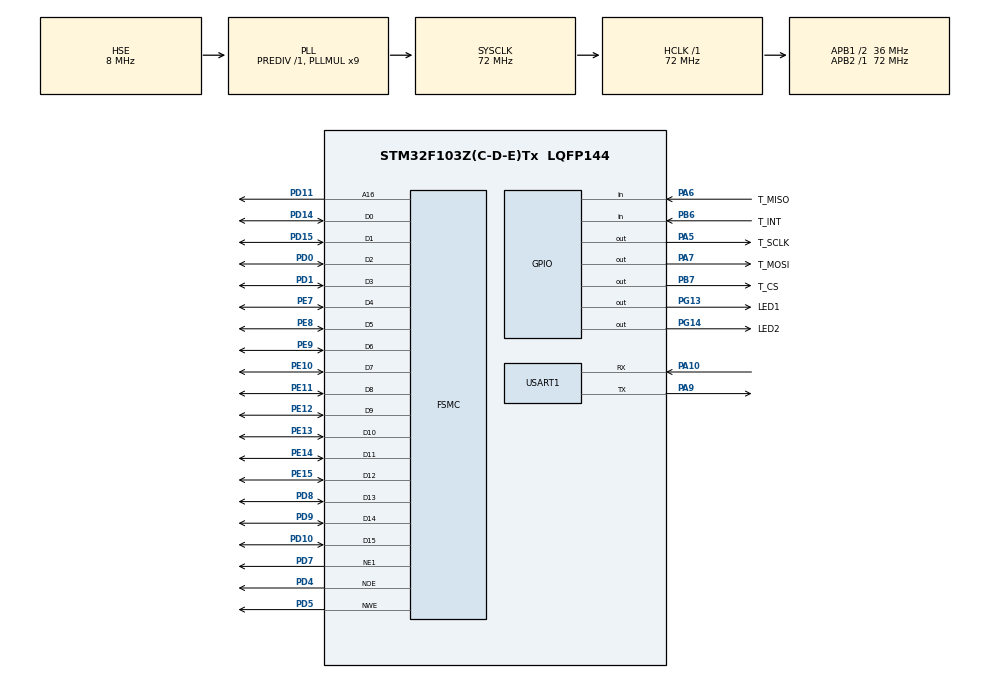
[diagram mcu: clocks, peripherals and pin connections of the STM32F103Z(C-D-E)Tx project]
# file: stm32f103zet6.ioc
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FSMC.BusTurnAroundDuration1=0
FSMC.DataSetupTime1=60
FSMC.ExtendedAddressSetupTime1=9
FSMC.ExtendedBusTurnAroundDuration1=0
FSMC.ExtendedDataSetupTime1=8
FSMC.ExtendedMode1=FSMC_EXTENDED_MODE_ENABLE
Mcu.Family=STM32F1
Mcu.Name=STM32F103Z(C-D-E)Tx
Mcu.Package=LQFP144
NVIC.PriorityGroup=NVIC_PRIORITYGROUP_4
OSC_IN.Mode=HSE-External-Oscillator
OSC_IN.Signal=RCC_OSC_IN
OSC_OUT.Mode=HSE-External-Oscillator
OSC_OUT.Signal=RCC_OSC_OUT
PA10.Mode=Asynchronous
PA10.Signal=USART1_RX
PA13.Mode=Serial_Wire
PA13.Signal=SYS_JTMS-SWDIO
PA14.Mode=Serial_Wire
PA14.Signal=SYS_JTCK-SWCLK
PA5.GPIO_Label=T_SCLK
PA5.GPIO_ModeDefaultOutputPP=GPIO_MODE_OUTPUT_PP
PA5.GPIO_PuPd=GPIO_PULLUP
PA5.GPIO_Speed=GPIO_SPEED_FREQ_HIGH
PA5.PinState=GPIO_PIN_SET
PA5.Signal=GPIO_Output
PA6.GPIO_Label=T_MISO
PA6.GPIO_PuPd=GPIO_PULLUP
PA6.Signal=GPIO_Input
PA7.GPIO_Label=T_MOSI
PA7.GPIO_ModeDefaultOutputPP=GPIO_MODE_OUTPUT_PP
PA7.GPIO_PuPd=GPIO_PULLUP
PA7.GPIO_Speed=GPIO_SPEED_FREQ_HIGH
PA7.PinState=GPIO_PIN_SET
PA7.Signal=GPIO_Output
PA9.Mode=Asynchronous
PA9.Signal=USART1_TX
PB6.GPIO_Label=T_INT
PB6.GPIO_Mode=GPIO_MODE_INPUT
PB6.GPIO_PuPd=GPIO_PULLUP
PB6.Signal=GPIO_Input
PB7.GPIO_Label=T_CS
PB7.GPIO_ModeDefaultOutputPP=GPIO_MODE_OUTPUT_PP
PB7.GPIO_PuPd=GPIO_PULLUP
PB7.GPIO_Speed=GPIO_SPEED_FREQ_HIGH
PB7.PinState=GPIO_PIN_SET
PB7.Signal=GPIO_Output
PC14-OSC32_IN.Mode=LSE-External-Oscillator
PC14-OSC32_IN.Signal=RCC_OSC32_IN
PC15-OSC32_OUT.Mode=LSE-External-Oscillator
PC15-OSC32_OUT.Signal=RCC_OSC32_OUT
PD0.Signal=FSMC_D2_DA2
PD1.Signal=FSMC_D3_DA3
PD10.Signal=FSMC_D15_DA15
PD11.Signal=FSMC_A16_CLE
PD14.Signal=FSMC_D0_DA0
PD15.Signal=FSMC_D1_DA1
PD4.Signal=FSMC_NOE
PD5.Signal=FSMC_NWE
PD7.Mode=NorPsramChipSelect1_1
PD7.Signal=FSMC_NE1
PD8.Signal=FSMC_D13_DA13
PD9.Signal=FSMC_D14_DA14
PE10.Signal=FSMC_D7_DA7
PE11.Signal=FSMC_D8_DA8
PE12.Signal=FSMC_D9_DA9
PE13.Signal=FSMC_D10_DA10
PE14.Signal=FSMC_D11_DA11
PE15.Signal=FSMC_D12_DA12
PE7.Signal=FSMC_D4_DA4
PE8.Signal=FSMC_D5_DA5
PE9.Signal=FSMC_D6_DA6
PG13.GPIO_Label=LED1
PG13.GPIO_ModeDefaultOutputPP=GPIO_MODE_OUTPUT_PP
PG13.GPIO_PuPd=GPIO_PULLDOWN
PG13.GPIO_Speed=GPIO_SPEED_FREQ_HIGH
PG13.PinState=GPIO_PIN_RESET
PG13.Signal=GPIO_Output
PG14.GPIO_Label=LED2
PG14.GPIO_ModeDefaultOutputPP=GPIO_MODE_OUTPUT_PP
PG14.GPIO_PuPd=GPIO_PULLDOWN
PG14.GPIO_Speed=GPIO_SPEED_FREQ_HIGH
PG14.Signal=GPIO_Output
ProjectManager.HeapSize=0x200
ProjectManager.StackSize=0x400
ProjectManager.TargetToolchain=Makefile
RCC.AHBFreq_Value=72000000
RCC.APB1CLKDivider=RCC_HCLK_DIV2
RCC.APB1Freq_Value=36000000
RCC.APB1TimFreq_Value=72000000
RCC.APB2Freq_Value=72000000
RCC.APB2TimFreq_Value=72000000
RCC.HCLKFreq_Value=72000000
RCC.PLLMUL=RCC_PLL_MUL9
RCC.PLLSourceVirtual=RCC_PLLSOURCE_HSE
RCC.SYSCLKFreq_VALUE=72000000
RCC.SYSCLKSource=RCC_SYSCLKSOURCE_PLLCLK
RCC.USBFreq_Value=72000000
SH.FSMC_A16_CLE.0=FSMC_A16,A16_1
SH.FSMC_D0_DA0.0=FSMC_D0,16b-d1
SH.FSMC_D10_DA10.0=FSMC_D10,16b-d1
SH.FSMC_D11_DA11.0=FSMC_D11,16b-d1
SH.FSMC_D12_DA12.0=FSMC_D12,16b-d1
SH.FSMC_D13_DA13.0=FSMC_D13,16b-d1
SH.FSMC_D14_DA14.0=FSMC_D14,16b-d1
SH.FSMC_D15_DA15.0=FSMC_D15,16b-d1
SH.FSMC_D1_DA1.0=FSMC_D1,16b-d1
SH.FSMC_D2_DA2.0=FSMC_D2,16b-d1
SH.FSMC_D3_DA3.0=FSMC_D3,16b-d1
SH.FSMC_D4_DA4.0=FSMC_D4,16b-d1
SH.FSMC_D5_DA5.0=FSMC_D5,16b-d1
SH.FSMC_D6_DA6.0=FSMC_D6,16b-d1
SH.FSMC_D7_DA7.0=FSMC_D7,16b-d1
SH.FSMC_D8_DA8.0=FSMC_D8,16b-d1
SH.FSMC_D9_DA9.0=FSMC_D9,16b-d1
SH.FSMC_NOE.0=FSMC_NOE,Lcd1
SH.FSMC_NWE.0=FSMC_NWE,Lcd1
USART1.VirtualMode=VM_ASYNC
board=custom

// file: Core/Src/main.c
/* USER CODE BEGIN Header */
/**
  ******************************************************************************
  * @file           : main.c
  * @brief          : Main program body
  ******************************************************************************
  * @attention
  *
  * Copyright (c) 2023 STMicroelectronics.
  * All rights reserved.
  *
  * This software is licensed under terms that can be found in the LICENSE file
  * in the root directory of this software component.
  * If no LICENSE file comes with this software, it is provided AS-IS.
  *
  ******************************************************************************
  */
/* USER CODE END Header */
#include "main.h"

/* USER CODE BEGIN Includes */
#include "ILI93xx.h"
#include <lvgl.h>
#include "lv_port_disp.h"
#include "touch.h"
/* USER CODE END Includes */

/* USER CODE BEGIN PD */
#define LVGL_TICK 	5
/* USER CODE END PD */

/* USER CODE BEGIN PM */
uint8_t u_buf[256];
#define printf(...) HAL_UART_Transmit(&huart1,\
(uint8_t *)u_buf,\
sprintf((char*)u_buf,__VA_ARGS__),\
0xffff)
/* USER CODE END PM */

UART_HandleTypeDef huart1;

SRAM_HandleTypeDef hsram1;

void SystemClock_Config(void);
static void MX_GPIO_Init(void);
static void MX_FSMC_Init(void);
static void MX_USART1_UART_Init(void);

/* USER CODE BEGIN 0 */
static void lvgl_init( void )
{
    lv_init();
    lv_port_disp_init();        // 显示器初始化
    // lv_port_indev_init();       // 输入设备初始化
    // lv_port_fs_init();          // 文件系统设备初始化
}

/* USER CODE END 0 */

int main(void)
{
  /* USER CODE BEGIN 1 */
  //char *data = "STM32F1 FSMC LCD";
  /* USER CODE END 1 */

  /* MCU Configuration--------------------------------------------------------*/

  /* Reset of all peripherals, Initializes the Flash interface and the Systick. */
  HAL_Init();

  /* Configure the system clock */
  SystemClock_Config();

  /* Initialize all configured peripherals */
  MX_GPIO_Init();
  MX_FSMC_Init();
  MX_USART1_UART_Init();
  /* USER CODE BEGIN 2 */
  printf("LCD INIT\r\n");
  TFTLCD_Init();
  //POINT_COLOR=RED;//设置字体为红色
  //LCD_ShowString(10,50,200,24,32, (uint8_t *)data);

  lvgl_init();

  /* USER CODE END 2 */

  /* Infinite loop */

  /* USER CODE BEGIN WHILE */
  printf("Hello LCD\r\n");

   // Change the active screen's background color
   lv_obj_set_style_bg_color(lv_scr_act(), lv_color_hex(RED), LV_PART_MAIN);
   lv_obj_set_style_text_color(lv_scr_act(), lv_color_hex(0xffffff), LV_PART_MAIN);

	  static char* github_addr = "stm32f103_lvgl_example";
	  lv_obj_t * label = lv_label_create(lv_scr_act());
    lv_label_set_recolor(label, true);
    lv_label_set_long_mode(label, LV_LABEL_LONG_SCROLL_CIRCULAR); /*Circular scroll*/
    lv_obj_set_width(label, 320);
    lv_label_set_text_fmt(label, "hello: %s", github_addr);
    lv_obj_align(label, LV_ALIGN_CENTER, 0, 0);

    tp_dev.init();

  while (1)
  {
    /* USER CODE END WHILE */
		lv_timer_handler();
		HAL_Delay(LVGL_TICK);
    HAL_GPIO_TogglePin(LED1_GPIO_Port,LED1_Pin);
    tp_dev.scan(0);
    if(tp_dev.sta&TP_PRES_DOWN)
    {
      HAL_GPIO_TogglePin(LED2_GPIO_Port,LED2_Pin);
    }
  }
}

void SystemClock_Config(void)
{
  RCC_OscInitTypeDef RCC_OscInitStruct = {0};
  RCC_ClkInitTypeDef RCC_ClkInitStruct = {0};

  /** Initializes the RCC Oscillators according to the specified parameters
  * in the RCC_OscInitTypeDef structure.
  */
  RCC_OscInitStruct.OscillatorType = RCC_OSCILLATORTYPE_HSE;
  RCC_OscInitStruct.HSEState = RCC_HSE_ON;
  RCC_OscInitStruct.HSEPredivValue = RCC_HSE_PREDIV_DIV1;
  RCC_OscInitStruct.HSIState = RCC_HSI_ON;
  RCC_OscInitStruct.PLL.PLLState = RCC_PLL_ON;
  RCC_OscInitStruct.PLL.PLLSource = RCC_PLLSOURCE_HSE;
  RCC_OscInitStruct.PLL.PLLMUL = RCC_PLL_MUL9;
  if (HAL_RCC_OscConfig(&RCC_OscInitStruct) != HAL_OK)
  {
    Error_Handler();
  }

  /** Initializes the CPU, AHB and APB buses clocks
  */
  RCC_ClkInitStruct.ClockType = RCC_CLOCKTYPE_HCLK|RCC_CLOCKTYPE_SYSCLK
                              |RCC_CLOCKTYPE_PCLK1|RCC_CLOCKTYPE_PCLK2;
  RCC_ClkInitStruct.SYSCLKSource = RCC_SYSCLKSOURCE_PLLCLK;
  RCC_ClkInitStruct.AHBCLKDivider = RCC_SYSCLK_DIV1;
  RCC_ClkInitStruct.APB1CLKDivider = RCC_HCLK_DIV2;
  RCC_ClkInitStruct.APB2CLKDivider = RCC_HCLK_DIV1;

  if (HAL_RCC_ClockConfig(&RCC_ClkInitStruct, FLASH_LATENCY_2) != HAL_OK)
  {
    Error_Handler();
  }
}

static void MX_USART1_UART_Init(void)
{

  huart1.Instance = USART1;
  huart1.Init.BaudRate = 115200;
  huart1.Init.WordLength = UART_WORDLENGTH_8B;
  huart1.Init.StopBits = UART_STOPBITS_1;
  huart1.Init.Parity = UART_PARITY_NONE;
  huart1.Init.Mode = UART_MODE_TX_RX;
  huart1.Init.HwFlowCtl = UART_HWCONTROL_NONE;
  huart1.Init.OverSampling = UART_OVERSAMPLING_16;
  if (HAL_UART_Init(&huart1) != HAL_OK)
  {
    Error_Handler();
  }

}

static void MX_GPIO_Init(void)
{
  GPIO_InitTypeDef GPIO_InitStruct = {0};

  /* GPIO Ports Clock Enable */
  __HAL_RCC_GPIOC_CLK_ENABLE();
  __HAL_RCC_GPIOA_CLK_ENABLE();
  __HAL_RCC_GPIOE_CLK_ENABLE();
  __HAL_RCC_GPIOD_CLK_ENABLE();
  __HAL_RCC_GPIOG_CLK_ENABLE();
  __HAL_RCC_GPIOB_CLK_ENABLE();

  /*Configure GPIO pin Output Level */
  HAL_GPIO_WritePin(GPIOA, T_SCLK_Pin|T_MOSI_Pin, GPIO_PIN_SET);

  /*Configure GPIO pin Output Level */
  HAL_GPIO_WritePin(GPIOG, LED1_Pin|LED2_Pin, GPIO_PIN_RESET);

  /*Configure GPIO pin Output Level */
  HAL_GPIO_WritePin(T_CS_GPIO_Port, T_CS_Pin, GPIO_PIN_SET);

  /*Configure GPIO pins : T_SCLK_Pin T_MOSI_Pin */
  GPIO_InitStruct.Pin = T_SCLK_Pin|T_MOSI_Pin;
  GPIO_InitStruct.Mode = GPIO_MODE_OUTPUT_PP;
  GPIO_InitStruct.Pull = GPIO_PULLUP;
  GPIO_InitStruct.Speed = GPIO_SPEED_FREQ_HIGH;
  HAL_GPIO_Init(GPIOA, &GPIO_InitStruct);

  /*Configure GPIO pin : T_MISO_Pin */
  GPIO_InitStruct.Pin = T_MISO_Pin;
  GPIO_InitStruct.Mode = GPIO_MODE_INPUT;
  GPIO_InitStruct.Pull = GPIO_PULLUP;
  HAL_GPIO_Init(T_MISO_GPIO_Port, &GPIO_InitStruct);

  /*Configure GPIO pins : LED1_Pin LED2_Pin */
  GPIO_InitStruct.Pin = LED1_Pin|LED2_Pin;
  GPIO_InitStruct.Mode = GPIO_MODE_OUTPUT_PP;
  GPIO_InitStruct.Pull = GPIO_PULLDOWN;
  GPIO_InitStruct.Speed = GPIO_SPEED_FREQ_HIGH;
  HAL_GPIO_Init(GPIOG, &GPIO_InitStruct);

  /*Configure GPIO pin : T_INT_Pin */
  GPIO_InitStruct.Pin = T_INT_Pin;
  GPIO_InitStruct.Mode = GPIO_MODE_INPUT;
  GPIO_InitStruct.Pull = GPIO_PULLUP;
  HAL_GPIO_Init(T_INT_GPIO_Port, &GPIO_InitStruct);

  /*Configure GPIO pin : T_CS_Pin */
  GPIO_InitStruct.Pin = T_CS_Pin;
  GPIO_InitStruct.Mode = GPIO_MODE_OUTPUT_PP;
  GPIO_InitStruct.Pull = GPIO_PULLUP;
  GPIO_InitStruct.Speed = GPIO_SPEED_FREQ_HIGH;
  HAL_GPIO_Init(T_CS_GPIO_Port, &GPIO_InitStruct);

}

/* FSMC initialization function */
static void MX_FSMC_Init(void)
{

  FSMC_NORSRAM_TimingTypeDef Timing = {0};
  FSMC_NORSRAM_TimingTypeDef ExtTiming = {0};

  /** Perform the SRAM1 memory initialization sequence
  */
  hsram1.Instance = FSMC_NORSRAM_DEVICE;
  hsram1.Extended = FSMC_NORSRAM_EXTENDED_DEVICE;
  /* hsram1.Init */
  hsram1.Init.NSBank = FSMC_NORSRAM_BANK1;
  hsram1.Init.DataAddressMux = FSMC_DATA_ADDRESS_MUX_DISABLE;
  hsram1.Init.MemoryType = FSMC_MEMORY_TYPE_SRAM;
  hsram1.Init.MemoryDataWidth = FSMC_NORSRAM_MEM_BUS_WIDTH_16;
  hsram1.Init.BurstAccessMode = FSMC_BURST_ACCESS_MODE_DISABLE;
  hsram1.Init.WaitSignalPolarity = FSMC_WAIT_SIGNAL_POLARITY_LOW;
  hsram1.Init.WrapMode = FSMC_WRAP_MODE_DISABLE;
  hsram1.Init.WaitSignalActive = FSMC_WAIT_TIMING_BEFORE_WS;
  hsram1.Init.WriteOperation = FSMC_WRITE_OPERATION_ENABLE;
  hsram1.Init.WaitSignal = FSMC_WAIT_SIGNAL_DISABLE;
  hsram1.Init.ExtendedMode = FSMC_EXTENDED_MODE_ENABLE;
  hsram1.Init.AsynchronousWait = FSMC_ASYNCHRONOUS_WAIT_DISABLE;
  hsram1.Init.WriteBurst = FSMC_WRITE_BURST_DISABLE;
  /* Timing */
  Timing.AddressSetupTime = 15;
  Timing.AddressHoldTime = 15;
  Timing.DataSetupTime = 60;
  Timing.BusTurnAroundDuration = 0;
  Timing.CLKDivision = 16;
  Timing.DataLatency = 17;
  Timing.AccessMode = FSMC_ACCESS_MODE_A;
  /* ExtTiming */
  ExtTiming.AddressSetupTime = 9;
  ExtTiming.AddressHoldTime = 15;
  ExtTiming.DataSetupTime = 8;
  ExtTiming.BusTurnAroundDuration = 0;
  ExtTiming.CLKDivision = 16;
  ExtTiming.DataLatency = 17;
  ExtTiming.AccessMode = FSMC_ACCESS_MODE_A;

  if (HAL_SRAM_Init(&hsram1, &Timing, &ExtTiming) != HAL_OK)
  {
    Error_Handler( );
  }

  /** Disconnect NADV
  */

  __HAL_AFIO_FSMCNADV_DISCONNECTED();

}

void Error_Handler(void)
{
  __disable_irq();
  while (1)
  {
  }
}
